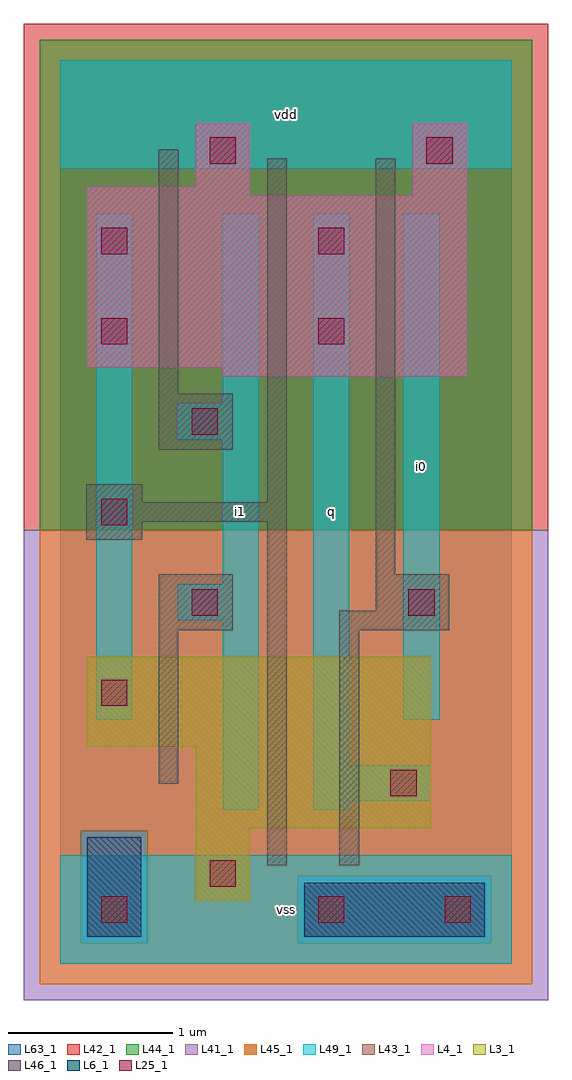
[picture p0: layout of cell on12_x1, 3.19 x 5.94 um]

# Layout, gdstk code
import gdstk
lib = gdstk.Library(unit=1e-6, precision=1e-09)
def R(c, l, rs):  # rectangles x0, y0, x1, y1
    for r in rs: c.add(gdstk.rectangle(r[:2], r[2:], *l))
def A(c, l, x, y, w, h, nx, ny, dx, dy):  # array of equal rectangles
    R(c, l, [(x+i*dx, y+j*dy, x+i*dx+w, y+j*dy+h) for i in range(nx) for j in range(ny)])
L3_1 = (3, 1)
L4_1 = (4, 1)
L6_1 = (6, 1)
L25_1 = (25, 1)
L41_1 = (41, 1)
L42_1 = (42, 1)
L43_1 = (43, 1)
L44_1 = (44, 1)
L45_1 = (45, 1)
L46_1 = (46, 1)
L49_1 = (49, 1)
L63_1 = (63, 1)

on12_x1 = lib.new_cell('on12_x1')
R(on12_x1, L3_1, [(0.825,0.385,1.155,0.825), (0.825,0.825,2.255,1.32), (0.165,1.32,2.255,1.87)])
R(on12_x1, L4_1, [(0.99,3.575,2.475,3.63), (0.165,3.63,2.475,4.675), (0.165,4.675,1.155,4.73), (2.145,4.675,2.475,5.115), (0.825,4.73,1.155,5.115)])
R(on12_x1, L6_1, [(0.165,0.165,0.495,0.77), (1.485,0.165,2.585,0.495)])
A(on12_x1, L25_1, 0.25, 1.57, 0.16, 0.16, 1, 3, 0, 1.1)
R(on12_x1, L25_1, [(0.25,0.25,0.41,0.41), (1.57,0.25,1.73,0.41), (2.34,0.25,2.5,0.41), (0.91,0.47,1.07,0.63), (2.01,1.02,2.17,1.18), (0.8,2.12,0.96,2.28), (2.12,2.12,2.28,2.28), (0.8,3.22,0.96,3.38), (1.57,3.77,1.73,3.93), (0.25,4.32,0.41,4.48), (1.57,4.32,1.73,4.48), (0.91,4.87,1.07,5.03), (2.23,4.87,2.39,5.03)])
R(on12_x1, L41_1, [(-0.22,-0.22,2.97,2.64)])
R(on12_x1, L42_1, [(-0.22,2.64,2.97,5.72)])
R(on12_x1, L43_1, [(0.165,0.165,0.495,0.77), (1.485,0.165,2.585,0.495), (0.825,0.385,1.155,0.825), (0.825,0.825,2.255,1.32), (0.165,1.32,2.255,1.87), (0.99,3.575,2.475,3.63), (0.165,3.63,2.475,4.675), (0.165,4.675,1.155,4.73), (2.145,4.675,2.475,5.115), (0.825,4.73,1.155,5.115)])
R(on12_x1, L44_1, [(0.125,0.125,0.535,0.81), (1.445,0.125,2.625,0.535), (-0.125,2.64,2.875,5.625)])
R(on12_x1, L45_1, [(-0.125,-0.125,2.875,0.125), (-0.125,0.125,0.125,0.81), (0.535,0.125,1.445,0.535), (2.625,0.125,2.875,0.535), (0.535,0.535,2.875,0.81), (-0.125,0.81,2.875,2.64)])
R(on12_x1, L46_1, [(1.26,0.6,1.38,2.69), (1.7,0.6,1.82,2.03), (0.6,1.095,0.72,2.03), (0.6,2.03,1.05,2.37), (1.7,2.03,2.37,2.15), (1.92,2.15,2.37,2.37), (1.92,2.37,2.04,4.9), (0.16,2.58,0.5,2.69), (0.16,2.69,1.38,2.81), (0.16,2.81,0.5,2.92), (1.26,2.81,1.38,4.9), (0.6,3.13,1.05,3.47), (0.6,3.47,0.72,4.955)])
R(on12_x1, L49_1, [(0,0,2.75,0.66), (0.99,0.935,1.21,2.09), (1.54,0.935,1.76,0.99), (1.54,0.99,2.255,1.21), (1.54,1.21,1.76,4.565), (0.22,1.485,0.44,4.565), (2.09,1.485,2.31,4.565), (0.715,2.09,1.21,2.31), (0.99,2.31,1.21,3.19), (0.715,3.19,1.21,3.41), (0.99,3.41,1.21,4.565), (0,4.84,2.75,5.5)])
R(on12_x1, L63_1, [(0,0,2.75,5.5)])
on12_x1.add(gdstk.Label('i1', (1.1,2.75), layer=49, texttype=1))
on12_x1.add(gdstk.Label('vss', (1.375,0.33), layer=49, texttype=1))
on12_x1.add(gdstk.Label('q', (1.65,2.75), layer=49, texttype=1))
on12_x1.add(gdstk.Label('vdd', (1.375,5.17), layer=49, texttype=1))
on12_x1.add(gdstk.Label('i0', (2.2,3.025), layer=49, texttype=1))

lib.write_gds('on12_x1.gds')
